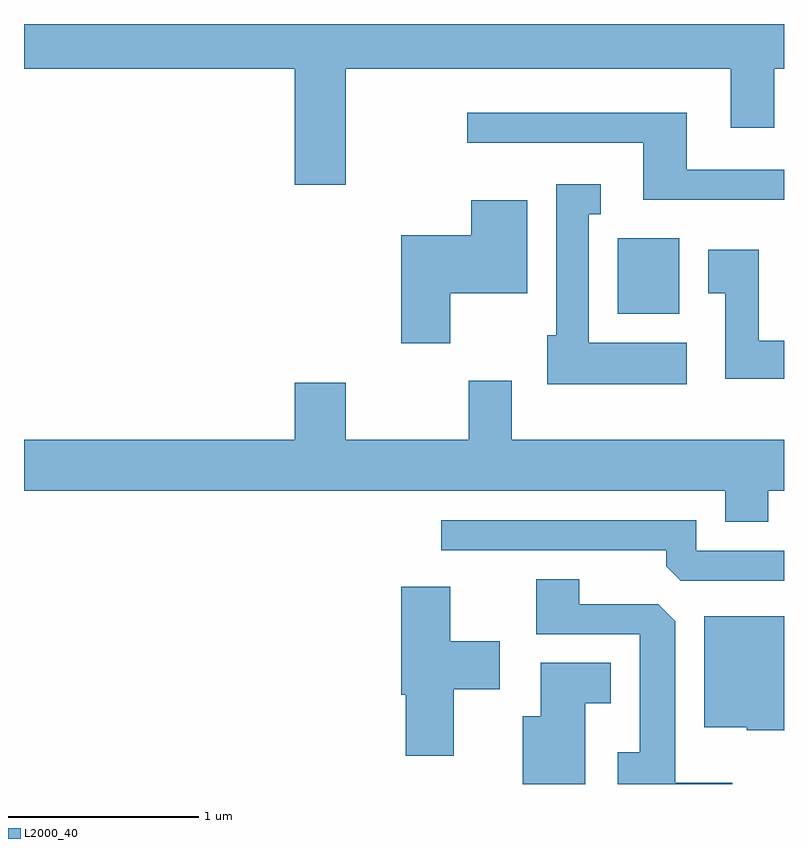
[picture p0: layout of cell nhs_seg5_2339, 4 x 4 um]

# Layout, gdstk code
import gdstk
lib = gdstk.Library(unit=1e-6, precision=1e-09)
def R(c, l, rs):  # rectangles x0, y0, x1, y1
    for r in rs: c.add(gdstk.rectangle(r[:2], r[2:], *l))
def P(c, l, *ps):  # polygons
    for p in ps: c.add(gdstk.Polygon(p, *l))
L2000_40 = (2000, 40)

nhs_seg5_2339 = lib.new_cell('nhs_seg5_2339')
R(nhs_seg5_2339, L2000_40, [(256.736,1526.546,257.059,1526.944)])
P(nhs_seg5_2339, L2000_40, [(255.304,1527.836),(257.331,1527.836),(257.331,1527.526),(257.559,1527.526),(257.559,1527.836),(257.611,1527.836),(257.611,1528.072),(253.611,1528.072),(253.611,1527.836),(255.036,1527.836),(255.036,1527.226),(255.304,1527.226)],
  [(257.611,1527.304),(257.099,1527.304),(257.099,1527.604),(255.943,1527.604),(255.943,1527.446),(256.871,1527.446),(256.871,1527.146),(257.611,1527.146)],
  [(257.099,1526.394),(256.584,1526.394),(256.584,1527.071),(256.647,1527.071),(256.647,1527.229),(256.411,1527.229),(256.411,1526.434),(256.366,1526.434),(256.366,1526.176),(257.099,1526.176)],
  [(255.854,1526.656),(256.259,1526.656),(256.259,1527.144),(255.966,1527.144),(255.966,1526.959),(255.596,1526.959),(255.596,1526.391),(255.854,1526.391)],
  [(257.611,1526.404),(257.479,1526.404),(257.479,1526.884),(257.211,1526.884),(257.211,1526.656),(257.301,1526.656),(257.301,1526.206),(257.611,1526.206)],
  [(257.529,1525.616),(257.611,1525.616),(257.611,1525.884),(256.179,1525.884),(256.179,1526.194),(255.951,1526.194),(255.951,1525.884),(255.304,1525.884),(255.304,1526.184),(255.036,1526.184),(255.036,1525.884),(253.611,1525.884),(253.611,1525.616),(257.301,1525.616),(257.301,1525.451),(257.529,1525.451)],
  [(257.611,1525.299),(257.149,1525.299),(257.149,1525.459),(255.808,1525.459),(255.808,1525.301),(256.991,1525.301),(256.991,1525.217),(257.067,1525.141),(257.611,1525.141)],
  [(257.339,1524.079),(257.039,1524.079),(257.039,1524.929),(256.949,1525.019),(256.534,1525.019),(256.534,1525.149),(256.306,1525.149),(256.306,1524.861),(256.851,1524.861),(256.851,1524.239),(256.736,1524.239),(256.736,1524.072),(257.339,1524.072)],
  [(255.874,1524.571),(256.114,1524.571),(256.114,1524.824),(255.854,1524.824),(255.854,1525.109),(255.596,1525.109),(255.596,1524.541),(255.621,1524.541),(255.621,1524.221),(255.874,1524.221)],
  [(257.611,1524.954),(257.191,1524.954),(257.191,1524.371),(257.415,1524.371),(257.415,1524.356),(257.611,1524.356)],
  [(256.564,1524.496),(256.699,1524.496),(256.699,1524.709),(256.331,1524.709),(256.331,1524.429),(256.236,1524.429),(256.236,1524.072),(256.564,1524.072)])

lib.write_gds('nhs_seg5_2339.gds')
